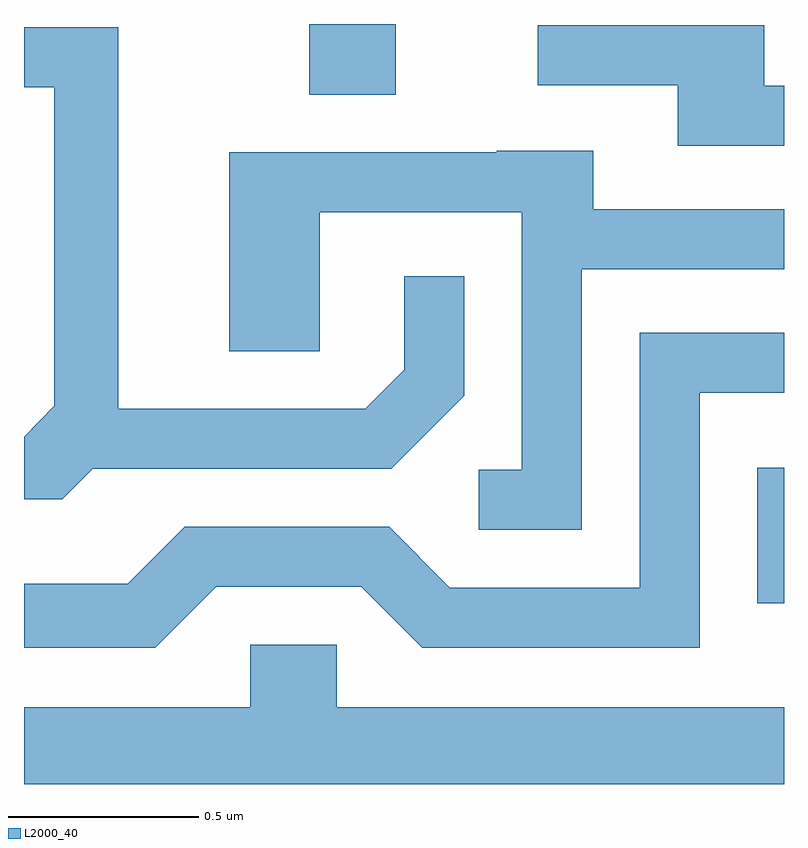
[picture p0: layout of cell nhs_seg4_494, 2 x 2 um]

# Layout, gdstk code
import gdstk
lib = gdstk.Library(unit=1e-6, precision=1e-09)
def R(c, l, rs):  # rectangles x0, y0, x1, y1
    for r in rs: c.add(gdstk.rectangle(r[:2], r[2:], *l))
def P(c, l, *ps):  # polygons
    for p in ps: c.add(gdstk.Polygon(p, *l))
L2000_40 = (2000, 40)

nhs_seg4_494 = lib.new_cell('nhs_seg4_494')
R(nhs_seg4_494, L2000_40, [(190.541,1337.458,190.611,1337.814), (189.361,1338.796,189.589,1338.982)])
P(nhs_seg4_494, L2000_40, [(190.611,1338.819),(190.559,1338.819),(190.559,1338.979),(189.963,1338.979),(189.963,1338.821),(190.331,1338.821),(190.331,1338.661),(190.611,1338.661)],
  [(188.792,1337.811),(189.577,1337.811),(189.769,1338.004),(189.769,1338.318),(189.611,1338.318),(189.611,1338.072),(189.509,1337.969),(188.859,1337.969),(188.859,1338.974),(188.611,1338.974),(188.611,1338.816),(188.691,1338.816),(188.691,1337.977),(188.611,1337.896),(188.611,1337.731),(188.712,1337.731)],
  [(190.079,1338.336),(190.611,1338.336),(190.611,1338.494),(190.109,1338.494),(190.109,1338.649),(189.855,1338.649),(189.855,1338.644),(189.151,1338.644),(189.151,1338.121),(189.389,1338.121),(189.389,1338.486),(189.921,1338.486),(189.921,1337.809),(189.808,1337.809),(189.808,1337.651),(190.079,1337.651)],
  [(189.117,1337.501),(189.499,1337.501),(189.659,1337.341),(190.389,1337.341),(190.389,1338.011),(190.611,1338.011),(190.611,1338.169),(190.231,1338.169),(190.231,1337.499),(189.732,1337.499),(189.572,1337.659),(189.034,1337.659),(188.884,1337.509),(188.611,1337.509),(188.611,1337.341),(188.957,1337.341)],
  [(190.611,1337.184),(189.434,1337.184),(189.434,1337.349),(189.206,1337.349),(189.206,1337.184),(188.611,1337.184),(188.611,1336.982),(190.611,1336.982)])

lib.write_gds('nhs_seg4_494.gds')
